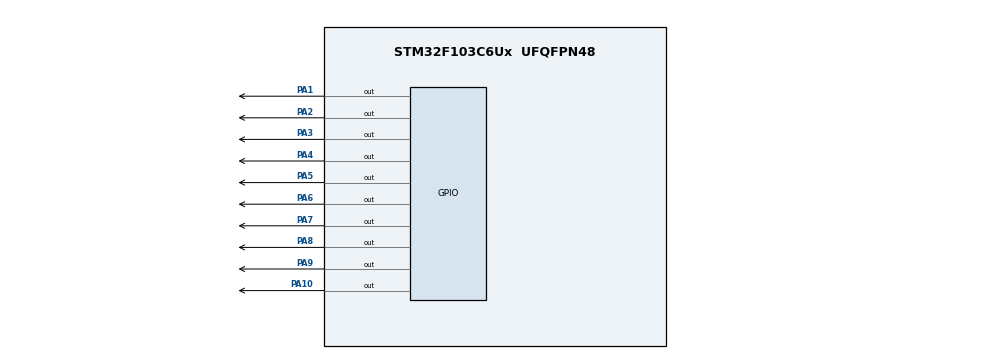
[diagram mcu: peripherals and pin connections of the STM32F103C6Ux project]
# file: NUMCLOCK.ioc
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Mcu.Family=STM32F1
Mcu.Name=STM32F103C6Ux
Mcu.Package=UFQFPN48
NVIC.PriorityGroup=NVIC_PRIORITYGROUP_4
PA1.Signal=GPIO_Output
PA10.Signal=GPIO_Output
PA2.Signal=GPIO_Output
PA3.Signal=GPIO_Output
PA4.Signal=GPIO_Output
PA5.Signal=GPIO_Output
PA6.Signal=GPIO_Output
PA7.Signal=GPIO_Output
PA8.Signal=GPIO_Output
PA9.Signal=GPIO_Output
ProjectManager.HeapSize=0x200
ProjectManager.StackSize=0x400
ProjectManager.TargetToolchain=STM32CubeIDE
RCC.APB1Freq_Value=8000000
RCC.APB2Freq_Value=8000000
VP_SYS_VS_ND.Mode=No_Debug
board=custom

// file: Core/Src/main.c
/* USER CODE BEGIN Header */
/**
  ******************************************************************************
  * @file           : main.c
  * @brief          : Main program body
  ******************************************************************************
  * @attention
  *
  * <h2><center>&copy; Copyright (c) 2022 STMicroelectronics.
  * All rights reserved.</center></h2>
  *
  * This software component is licensed by ST under BSD 3-Clause license,
  * the "License"; You may not use this file except in compliance with the
  * License. You may obtain a copy of the License at:
  *                        opensource.org/licenses/BSD-3-Clause
  *
  ******************************************************************************
  */
/* USER CODE END Header */
#include "main.h"

void SystemClock_Config(void);
static void MX_GPIO_Init(void);
/* USER CODE BEGIN PFP */
int int_to_pin(int input){
	int pin_gate;
		switch(input){
		case 1:
				pin_gate=GPIO_PIN_1;
				break;
		case 2:
				pin_gate=GPIO_PIN_2;
				break;
		case 3:
				pin_gate=GPIO_PIN_3;
				break;
		case 4:
				pin_gate=GPIO_PIN_4;
				break;
		case 5:
				pin_gate=GPIO_PIN_5;
				break;
		case 6:
				pin_gate=GPIO_PIN_6;
				break;
		case 7:
				pin_gate=GPIO_PIN_7;
				break;
		case 8:
				pin_gate=GPIO_PIN_8;
				break;
		case 9:
				pin_gate=GPIO_PIN_9;
				break;
		case 10:
				pin_gate=GPIO_PIN_10;
				break;
		}
		return pin_gate;
}

void setPin(int input, int logic) {
	GPIO_PinState state;
	if (logic) state = GPIO_PIN_SET;
	else state = GPIO_PIN_RESET;
	int pin_gate=int_to_pin(input);
	HAL_GPIO_WritePin(GPIOA, pin_gate, state);
}

void ClearAllClock(int logic){
	if (logic) {
		HAL_GPIO_WritePin(GPIOA, GPIO_PIN_1, RESET);
		HAL_GPIO_WritePin(GPIOA, GPIO_PIN_2, RESET);
		HAL_GPIO_WritePin(GPIOA, GPIO_PIN_3, RESET);
		HAL_GPIO_WritePin(GPIOA, GPIO_PIN_4, RESET);
		HAL_GPIO_WritePin(GPIOA, GPIO_PIN_5, RESET);
		HAL_GPIO_WritePin(GPIOA, GPIO_PIN_6, RESET);
		HAL_GPIO_WritePin(GPIOA, GPIO_PIN_7, RESET);
		HAL_GPIO_WritePin(GPIOA, GPIO_PIN_8, RESET);
		HAL_GPIO_WritePin(GPIOA, GPIO_PIN_9, RESET);
		HAL_GPIO_WritePin(GPIOA, GPIO_PIN_10, RESET);
	}
}

void  setNumberOnClock(int num) {
	HAL_GPIO_WritePin(GPIOA, GPIO_PIN_1|GPIO_PIN_2|GPIO_PIN_3|
			  			GPIO_PIN_4|GPIO_PIN_5,RESET);
	HAL_GPIO_WritePin(GPIOA, GPIO_PIN_6|GPIO_PIN_7|GPIO_PIN_8|
			  	 		GPIO_PIN_9|GPIO_PIN_10, SET);
	switch (num){
			  case 0:
				  HAL_GPIO_WritePin(GPIOA, GPIO_PIN_3, SET);
				  HAL_GPIO_WritePin(GPIOA, GPIO_PIN_6, RESET);
				  break;
			  case 1:
				  HAL_GPIO_WritePin(GPIOA, GPIO_PIN_4, SET);
				  HAL_GPIO_WritePin(GPIOA, GPIO_PIN_6, RESET);
				  break;
			  case 2:
				  HAL_GPIO_WritePin(GPIOA, GPIO_PIN_5, SET);
				  HAL_GPIO_WritePin(GPIOA, GPIO_PIN_7, RESET);
				  break;
			  case 3:
				  HAL_GPIO_WritePin(GPIOA, GPIO_PIN_5, SET);
				  HAL_GPIO_WritePin(GPIOA, GPIO_PIN_8, RESET);
				  break;
			  case 4:
				  HAL_GPIO_WritePin(GPIOA, GPIO_PIN_5, SET);
				  HAL_GPIO_WritePin(GPIOA, GPIO_PIN_9, RESET);
				  break;
			  case 5:
				  HAL_GPIO_WritePin(GPIOA, GPIO_PIN_4, SET);
				  HAL_GPIO_WritePin(GPIOA, GPIO_PIN_10, RESET);
				  break;
			  case 6:
				  HAL_GPIO_WritePin(GPIOA, GPIO_PIN_3, SET);
				  HAL_GPIO_WritePin(GPIOA, GPIO_PIN_10, RESET);
				  break;
			  case 7:
				  HAL_GPIO_WritePin(GPIOA, GPIO_PIN_2, SET);
				  HAL_GPIO_WritePin(GPIOA, GPIO_PIN_10, RESET);
				  break;
			  case 8:
				  HAL_GPIO_WritePin(GPIOA, GPIO_PIN_1, SET);
				  HAL_GPIO_WritePin(GPIOA, GPIO_PIN_9, RESET);
				  break;
			  case 9:
				  HAL_GPIO_WritePin(GPIOA, GPIO_PIN_1, SET);
				  HAL_GPIO_WritePin(GPIOA, GPIO_PIN_8, RESET);
				  break;
			  case 10:
				  HAL_GPIO_WritePin(GPIOA, GPIO_PIN_1, SET);
				  HAL_GPIO_WritePin(GPIOA, GPIO_PIN_7, RESET);
				  break;
			  case 11:
				  HAL_GPIO_WritePin(GPIOA, GPIO_PIN_2, SET);
				  HAL_GPIO_WritePin(GPIOA, GPIO_PIN_6, RESET);
				  break;
			  }
}
/* USER CODE END PFP */

int main(void)
{

  /* MCU Configuration--------------------------------------------------------*/

  /* Reset of all peripherals, Initializes the Flash interface and the Systick. */
  HAL_Init();

  /* Configure the system clock */
  SystemClock_Config();

  /* Initialize all configured peripherals */
  MX_GPIO_Init();

  /* Infinite loop */
  /* USER CODE BEGIN WHILE */
  while (1)
  {
	  setNumberOnClock(1);
	  HAL_Delay(1000);
	  setNumberOnClock(3);
	  HAL_Delay(1000);
	  setNumberOnClock(4);
	  HAL_Delay(1000);
    /* USER CODE END WHILE */

  }
}

void SystemClock_Config(void)
{
  RCC_OscInitTypeDef RCC_OscInitStruct = {0};
  RCC_ClkInitTypeDef RCC_ClkInitStruct = {0};

  /** Initializes the RCC Oscillators according to the specified parameters
  * in the RCC_OscInitTypeDef structure.
  */
  RCC_OscInitStruct.OscillatorType = RCC_OSCILLATORTYPE_HSI;
  RCC_OscInitStruct.HSIState = RCC_HSI_ON;
  RCC_OscInitStruct.HSICalibrationValue = RCC_HSICALIBRATION_DEFAULT;
  RCC_OscInitStruct.PLL.PLLState = RCC_PLL_NONE;
  if (HAL_RCC_OscConfig(&RCC_OscInitStruct) != HAL_OK)
  {
    Error_Handler();
  }
  /** Initializes the CPU, AHB and APB buses clocks
  */
  RCC_ClkInitStruct.ClockType = RCC_CLOCKTYPE_HCLK|RCC_CLOCKTYPE_SYSCLK
                              |RCC_CLOCKTYPE_PCLK1|RCC_CLOCKTYPE_PCLK2;
  RCC_ClkInitStruct.SYSCLKSource = RCC_SYSCLKSOURCE_HSI;
  RCC_ClkInitStruct.AHBCLKDivider = RCC_SYSCLK_DIV1;
  RCC_ClkInitStruct.APB1CLKDivider = RCC_HCLK_DIV1;
  RCC_ClkInitStruct.APB2CLKDivider = RCC_HCLK_DIV1;

  if (HAL_RCC_ClockConfig(&RCC_ClkInitStruct, FLASH_LATENCY_0) != HAL_OK)
  {
    Error_Handler();
  }
}

static void MX_GPIO_Init(void)
{
  GPIO_InitTypeDef GPIO_InitStruct = {0};

  /* GPIO Ports Clock Enable */
  __HAL_RCC_GPIOA_CLK_ENABLE();

  /*Configure GPIO pin Output Level */
  HAL_GPIO_WritePin(GPIOA, GPIO_PIN_1|GPIO_PIN_2|GPIO_PIN_3|GPIO_PIN_4
                          |GPIO_PIN_5|GPIO_PIN_6|GPIO_PIN_7|GPIO_PIN_8
                          |GPIO_PIN_9|GPIO_PIN_10, GPIO_PIN_RESET);

  /*Configure GPIO pins : PA1 PA2 PA3 PA4
                           PA5 PA6 PA7 PA8
                           PA9 PA10 */
  GPIO_InitStruct.Pin = GPIO_PIN_1|GPIO_PIN_2|GPIO_PIN_3|GPIO_PIN_4
                          |GPIO_PIN_5|GPIO_PIN_6|GPIO_PIN_7|GPIO_PIN_8
                          |GPIO_PIN_9|GPIO_PIN_10;
  GPIO_InitStruct.Mode = GPIO_MODE_OUTPUT_PP;
  GPIO_InitStruct.Pull = GPIO_NOPULL;
  GPIO_InitStruct.Speed = GPIO_SPEED_FREQ_LOW;
  HAL_GPIO_Init(GPIOA, &GPIO_InitStruct);

}

void Error_Handler(void)
{
  __disable_irq();
  while (1)
  {
  }
}

/************************ (C) COPYRIGHT STMicroelectronics *****END OF FILE****/
